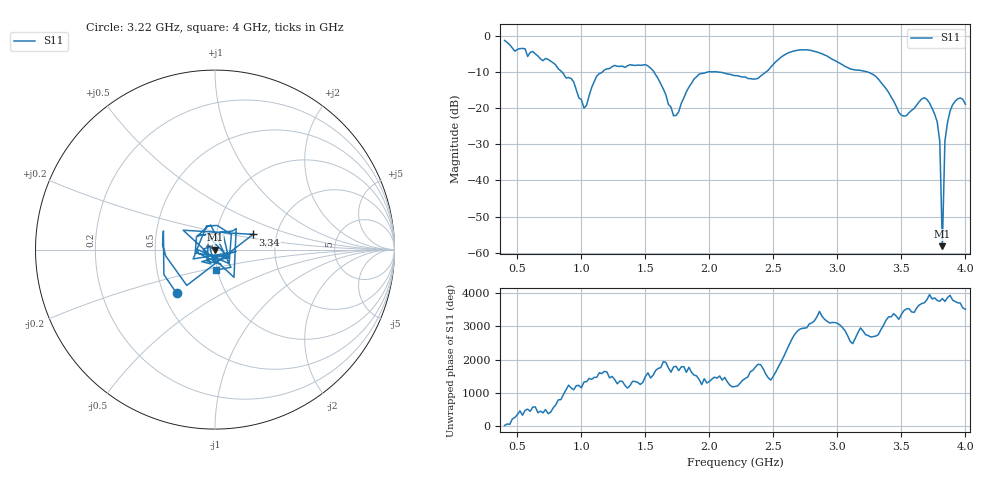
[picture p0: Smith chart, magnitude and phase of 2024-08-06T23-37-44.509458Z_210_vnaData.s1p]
!Created with skrf (http://scikit-rf.org).
# Hz S RI R 50.0
!freq ReS11 ImS11
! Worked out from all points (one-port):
!   181 points, 400 MHz to 4 GHz, reference 50 ohm
!   lowest |S11| = -58.2 dB at 3.82 GHz (marker M1), VSWR 1.00, Z = 49.9 - j0.0984 ohm
!   |S11| at or under -10 dB: 1.568 GHz to 1.981 GHz (413.2 MHz wide, 23.3 % of centre); 2.079 GHz to 2.44 GHz (360.6 MHz wide, 16 % of centre); 3.241 GHz to end of sweep (the widest 3 of 4)
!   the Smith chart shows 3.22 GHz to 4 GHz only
!   S11 on the Smith chart (normalised r, x): 3.22 GHz: 0.58, -0.32; 3.34 GHz: 1.51, +0.27; 4 GHz: 0.99, -0.23
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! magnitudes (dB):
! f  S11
! 400 MHz  -1.2
! 860 MHz  -10.4
! 940 MHz  -12.7
! 1.02 GHz  -20.0
! 1.12 GHz  -11.1
! 1.3 GHz  -8.4
! 1.52 GHz  -8.3
! 1.6 GHz  -11.8
! 1.72 GHz  -22.1
! 1.76 GHz  -21.0
! 1.92 GHz  -10.5
! 2.2 GHz  -11.0
! 2.38 GHz  -11.7
! 2.66 GHz  -4.1
! 2.86 GHz  -4.6
! 3.1 GHz  -9.1
! 3.22 GHz  -9.8
! 3.34 GHz  -12.8
! 3.5 GHz  -21.9
! 3.56 GHz  -21.2
! 3.68 GHz  -17.1
! 3.78 GHz  -23.8
! 3.8 GHz  -29.2
! 3.82 GHz  -58.2
! 3.84 GHz  -29.1
! 3.86 GHz  -24.0
! 3.92 GHz  -18.1
! 4 GHz  -18.9
